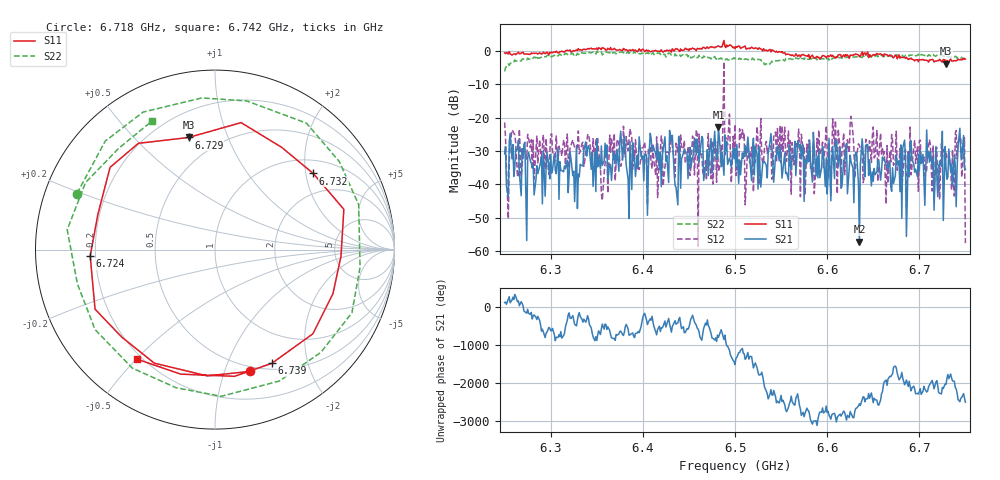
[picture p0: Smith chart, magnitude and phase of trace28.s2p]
# Hz S RI R 50
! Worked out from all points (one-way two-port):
!   401 points, 6.25 GHz to 6.75 GHz, reference 50 ohm
!   highest |S21| = -22.77 dB at 6.482 GHz (marker M1); lowest = -57.2 dB at 6.635 GHz (marker M2)
!   lowest |S11| = -3.9 dB at 6.729 GHz (marker M3), VSWR 4.58, Z = 17.2 + j36.6 ohm
!   |S11| at or under -10 dB: nowhere
!   |S22| runs from -6.2 to -0.1 dB; largest |S21 - S12| = 0.68
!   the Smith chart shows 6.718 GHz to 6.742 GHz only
!   S11 on the Smith chart (normalised r, x): 6.718 GHz: 0.45, -1.23; 6.724 GHz: 0.18, -0.03; 6.729 GHz: 0.34, +0.73; 6.732 GHz: 1.35, +2.20; 6.739 GHz: 0.57, -1.46; 6.742 GHz: 0.18, -0.50
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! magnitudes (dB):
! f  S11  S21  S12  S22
! 6.25 GHz  -0.6  -30.9  -21.4  -6.2
! 6.254 GHz  -0.9  -43.8  -50.3  -3.9
! 6.26 GHz  -0.9  -37.6  -24.6  -3.3
! 6.266 GHz  -0.9  -36.6  -23.4  -2.9
! 6.334 GHz  0.1  -34.4  -27.8  -0.5
! 6.349 GHz  0.6  -42.1  -26.7  -1.0
! 6.356 GHz  1.0  -34.3  -44.8  -1.2
! 6.366 GHz  0.4  -38.8  -26.1  -1.0
! 6.418 GHz  -0.1  -35.5  -30.3  -0.6
! 6.482 GHz  1.4  -22.8  -36.2  -2.3
! 6.49 GHz  1.0  -29.9  -26.0  -2.5
! 6.5 GHz  0.7  -29.2  -22.0  -2.4
! 6.584 GHz  -1.3  -39.3  -34.5  -2.3
! 6.635 GHz  -1.7  -57.2  -28.4  -1.6
! 6.668 GHz  -1.2  -33.0  -30.0  -1.6
! 6.718 GHz  -3.0  -28.7  -29.2  -1.6
! 6.724 GHz  -3.1  -34.6  -27.4  -1.2
! 6.729 GHz  -3.9  -35.1  -30.7  -1.5
! 6.732 GHz  -3.2  -29.4  -30.8  -1.7
! 6.739 GHz  -3.0  -34.4  -24.7  -1.6
! 6.742 GHz  -2.5  -28.8  -27.0  -2.0
! 6.75 GHz  -2.4  -35.5  -57.6  -2.1
